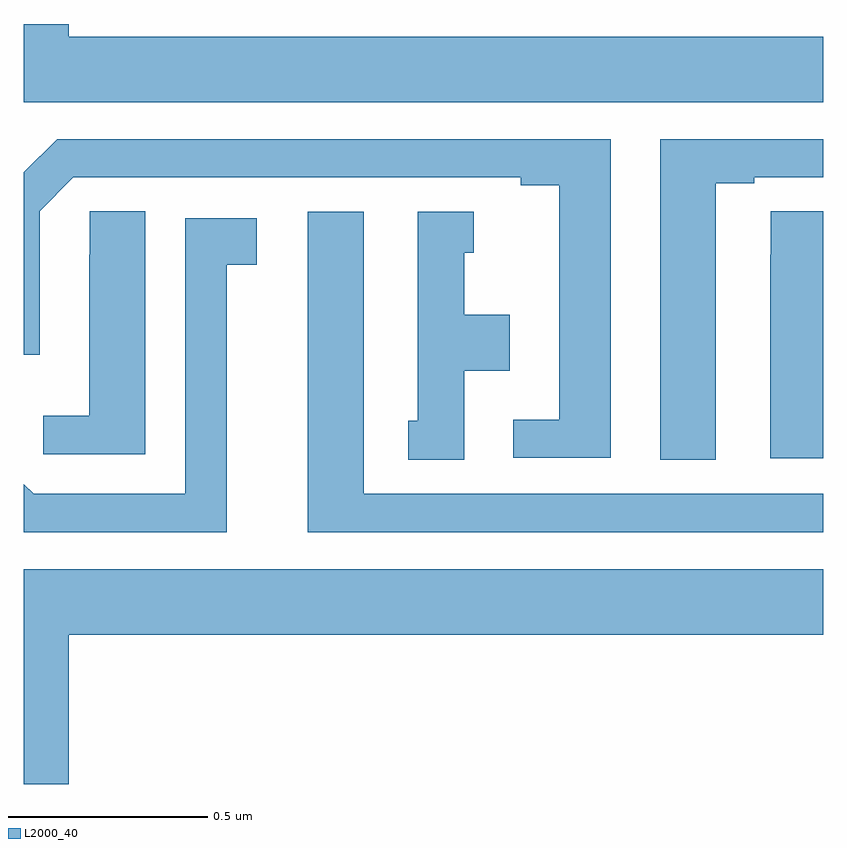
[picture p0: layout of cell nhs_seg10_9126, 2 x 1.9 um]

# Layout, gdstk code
import gdstk
lib = gdstk.Library(unit=1e-6, precision=1e-09)
def P(c, l, *ps):  # polygons
    for p in ps: c.add(gdstk.Polygon(p, *l))
L2000_40 = (2000, 40)

nhs_seg10_9126 = lib.new_cell('nhs_seg10_9126')
P(nhs_seg10_9126, L2000_40, [(227,1312.468),(225.112,1312.468),(225.112,1312.5),(225,1312.5),(225,1312.304),(227,1312.304)],
  [(226.732,1312.101),(226.828,1312.101),(226.828,1312.116),(227,1312.116),(227,1312.212),(226.592,1312.212),(226.592,1311.409),(226.732,1311.409)],
  [(226.468,1312.212),(225.083,1312.212),(225,1312.129),(225,1311.672),(225.039,1311.672),(225.039,1312.032),(225.123,1312.116),(226.244,1312.116),(226.244,1312.096),(226.34,1312.096),(226.34,1311.51),(226.224,1311.51),(226.224,1311.414),(226.468,1311.414)],
  [(227,1312.031),(226.869,1312.031),(226.869,1311.923),(226.868,1311.923),(226.868,1311.413),(227,1311.413)],
  [(225.304,1312.031),(225.165,1312.031),(225.165,1311.923),(225.164,1311.923),(225.164,1311.52),(225.048,1311.52),(225.048,1311.423),(225.304,1311.423)],
  [(227,1311.324),(225.85,1311.324),(225.85,1312.03),(225.71,1312.03),(225.71,1311.228),(227,1311.228)],
  [(226.102,1311.632),(226.216,1311.632),(226.216,1311.772),(226.102,1311.772),(226.102,1311.927),(226.126,1311.927),(226.126,1312.03),(225.986,1312.03),(225.986,1311.507),(225.962,1311.507),(225.962,1311.409),(226.102,1311.409)],
  [(225.508,1311.898),(225.583,1311.898),(225.583,1312.014),(225.404,1312.014),(225.404,1311.324),(225.024,1311.324),(225,1311.348),(225,1311.228),(225.508,1311.228)],
  [(225.112,1310.972),(227,1310.972),(227,1311.136),(225,1311.136),(225,1310.598),(225.112,1310.598)])

lib.write_gds('nhs_seg10_9126.gds')
